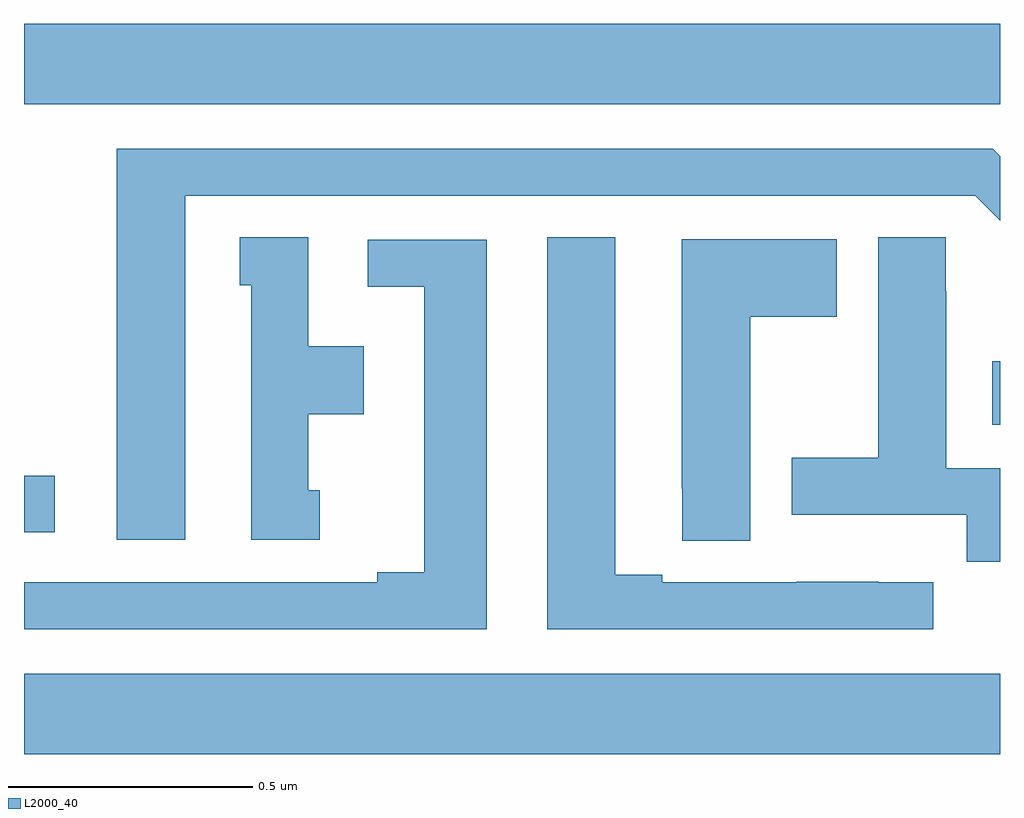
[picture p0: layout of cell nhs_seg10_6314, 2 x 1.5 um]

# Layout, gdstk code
import gdstk
lib = gdstk.Library(unit=1e-6, precision=1e-09)
def R(c, l, rs):  # rectangles x0, y0, x1, y1
    for r in rs: c.add(gdstk.rectangle(r[:2], r[2:], *l))
def P(c, l, *ps):  # polygons
    for p in ps: c.add(gdstk.Polygon(p, *l))
L2000_40 = (2000, 40)

nhs_seg10_6314 = lib.new_cell('nhs_seg10_6314')
R(nhs_seg10_6314, L2000_40, [(190,1253.696,192,1253.86), (190,1254.15,190.063,1254.266), (191.984,1254.371,192,1254.501), (190,1255.028,192,1255.192)])
P(nhs_seg10_6314, L2000_40, [(190.33,1254.84),(191.949,1254.84),(192,1254.789),(192,1254.921),(191.985,1254.936),(190.19,1254.936),(190.19,1254.135),(190.33,1254.135)],
  [(192,1254.282),(191.89,1254.282),(191.89,1254.644),(191.889,1254.644),(191.889,1254.755),(191.75,1254.755),(191.75,1254.303),(191.573,1254.303),(191.573,1254.186),(191.932,1254.186),(191.932,1254.09),(192,1254.09)],
  [(190.606,1254.237),(190.582,1254.237),(190.582,1254.392),(190.696,1254.392),(190.696,1254.532),(190.582,1254.532),(190.582,1254.755),(190.442,1254.755),(190.442,1254.657),(190.466,1254.657),(190.466,1254.135),(190.606,1254.135)],
  [(191.863,1254.048),(191.75,1254.048),(191.75,1254.049),(191.584,1254.049),(191.584,1254.048),(191.308,1254.048),(191.308,1254.063),(191.212,1254.063),(191.212,1254.755),(191.072,1254.755),(191.072,1253.952),(191.863,1253.952)],
  [(191.488,1254.592),(191.665,1254.592),(191.665,1254.751),(191.348,1254.751),(191.348,1254.241),(191.349,1254.241),(191.349,1254.133),(191.488,1254.133)],
  [(190.948,1254.75),(190.704,1254.75),(190.704,1254.654),(190.82,1254.654),(190.82,1254.068),(190.724,1254.068),(190.724,1254.048),(190,1254.048),(190,1253.952),(190.948,1253.952)])

lib.write_gds('nhs_seg10_6314.gds')
